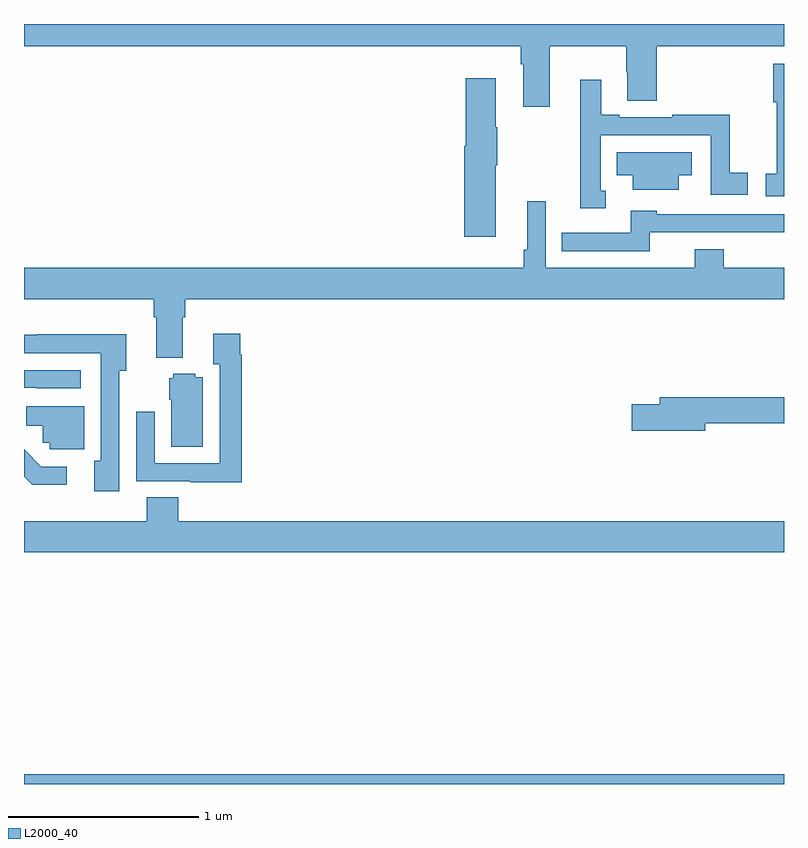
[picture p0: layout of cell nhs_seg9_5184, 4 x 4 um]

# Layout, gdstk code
import gdstk
lib = gdstk.Library(unit=1e-6, precision=1e-09)
def R(c, l, rs):  # rectangles x0, y0, x1, y1
    for r in rs: c.add(gdstk.rectangle(r[:2], r[2:], *l))
def P(c, l, *ps):  # polygons
    for p in ps: c.add(gdstk.Polygon(p, *l))
L2000_40 = (2000, 40)

nhs_seg9_5184 = lib.new_cell('nhs_seg9_5184')
R(nhs_seg9_5184, L2000_40, [(411,1228.5,415,1228.552)])
P(nhs_seg9_5184, L2000_40, [(413.767,1232.384),(414.169,1232.384),(414.169,1232.246),(414.176,1232.246),(414.176,1232.095),(414.329,1232.095),(414.329,1232.384),(415,1232.384),(415,1232.5),(411,1232.5),(411,1232.384),(413.615,1232.384),(413.615,1232.288),(413.627,1232.288),(413.627,1232.064),(413.767,1232.064)],
  [(415,1232.292),(414.943,1232.292),(414.943,1232.089),(414.961,1232.089),(414.961,1231.713),(414.903,1231.713),(414.903,1231.593),(415,1231.593)],
  [(413.482,1231.757),(413.49,1231.757),(413.49,1231.957),(413.482,1231.957),(413.482,1232.215),(413.324,1232.215),(413.324,1231.857),(413.318,1231.857),(413.318,1231.38),(413.482,1231.38)],
  [(414.061,1231.623),(414.036,1231.623),(414.036,1231.914),(414.615,1231.914),(414.615,1231.602),(414.808,1231.602),(414.808,1231.718),(414.714,1231.718),(414.714,1232.023),(414.412,1232.023),(414.412,1232.01),(414.133,1232.01),(414.133,1232.023),(414.037,1232.023),(414.037,1232.206),(413.927,1232.206),(413.927,1231.961),(413.928,1231.961),(413.928,1231.529),(414.061,1231.529)],
  [(414.445,1231.703),(414.514,1231.703),(414.514,1231.825),(414.121,1231.825),(414.121,1231.703),(414.203,1231.703),(414.203,1231.628),(414.445,1231.628)],
  [(411.835,1230.956),(411.848,1230.956),(411.848,1231.052),(415,1231.052),(415,1231.216),(414.683,1231.216),(414.683,1231.315),(414.53,1231.315),(414.53,1231.216),(413.745,1231.216),(413.745,1231.567),(413.648,1231.567),(413.648,1231.312),(413.629,1231.312),(413.629,1231.216),(411,1231.216),(411,1231.052),(411.683,1231.052),(411.683,1230.956),(411.695,1230.956),(411.695,1230.743),(411.835,1230.743)],
  [(414.294,1231.404),(414.766,1231.404),(414.766,1231.403),(415,1231.403),(415,1231.5),(414.33,1231.5),(414.33,1231.516),(414.194,1231.516),(414.194,1231.401),(413.83,1231.401),(413.83,1231.305),(414.294,1231.305)],
  [(412.145,1230.758),(412.138,1230.758),(412.138,1230.871),(411.995,1230.871),(411.995,1230.71),(412.029,1230.71),(412.029,1230.189),(411.687,1230.189),(411.687,1230.46),(411.591,1230.46),(411.591,1230.093),(411.875,1230.093),(411.875,1230.089),(412.145,1230.089)],
  [(411.501,1230.674),(411.538,1230.674),(411.538,1230.866),(411.073,1230.866),(411.073,1230.864),(411,1230.864),(411,1230.768),(411.405,1230.768),(411.405,1230.202),(411.371,1230.202),(411.371,1230.042),(411.501,1230.042)],
  [(411.298,1230.678),(411,1230.678),(411,1230.585),(411.067,1230.585),(411.067,1230.582),(411.298,1230.582)],
  [(411.94,1230.64),(411.9,1230.64),(411.9,1230.658),(411.786,1230.658),(411.786,1230.636),(411.764,1230.636),(411.764,1230.522),(411.776,1230.522),(411.776,1230.274),(411.94,1230.274)],
  [(414.586,1230.4),(415,1230.4),(415,1230.536),(414.347,1230.536),(414.347,1230.5),(414.198,1230.5),(414.198,1230.358),(414.586,1230.358)],
  [(411.316,1230.489),(411.012,1230.489),(411.012,1230.386),(411.099,1230.386),(411.099,1230.297),(411.135,1230.297),(411.135,1230.261),(411.316,1230.261)],
  [(411.226,1230.171),(411.09,1230.171),(411,1230.261),(411,1230.118),(411.044,1230.074),(411.226,1230.074)],
  [(415,1229.884),(411.812,1229.884),(411.812,1230.008),(411.647,1230.008),(411.647,1229.884),(411,1229.884),(411,1229.72),(415,1229.72)])

lib.write_gds('nhs_seg9_5184.gds')
